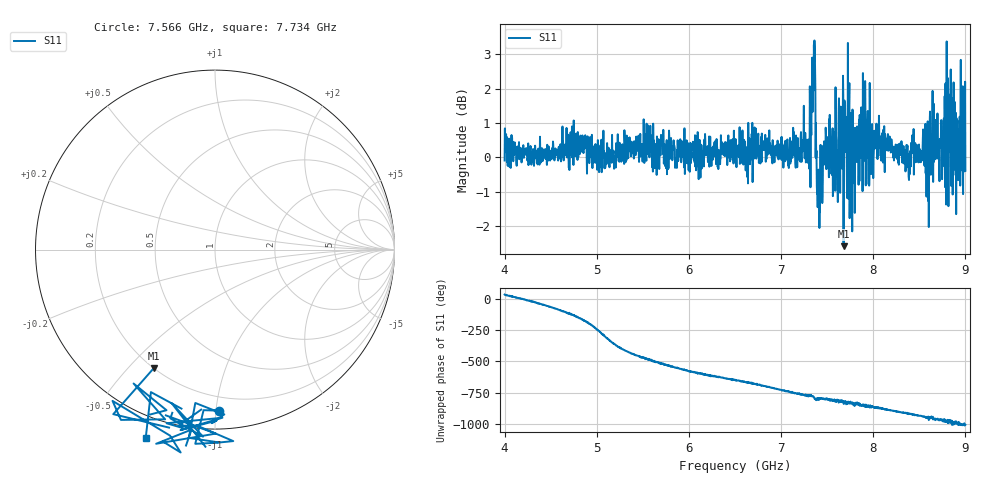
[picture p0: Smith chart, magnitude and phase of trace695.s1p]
! Created with skrf 1.8.0 (http://scikit-rf.org).
# Hz S RI R 50.0
!freq ReS11 ImS11
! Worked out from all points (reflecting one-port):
!   1601 points, 4 GHz to 9 GHz, reference 50 ohm
!   lowest |S11| = -2.6 dB at 7.678 GHz (marker M1), VSWR 6.79, Z = 10 - j29.6 ohm
!   phase of S11 starts at 37 deg and turns -1047 deg over the sweep
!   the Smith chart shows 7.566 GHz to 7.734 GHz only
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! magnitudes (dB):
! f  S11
! 4 GHz  -0.1
! 4.625 GHz  0.3
! 5.25 GHz  0.3
! 5.566 GHz  0.3
! 5.625 GHz  0.4
! 5.875 GHz  -0.1
! 6.5 GHz  0.3
! 7.125 GHz  0.4
! 7.294 GHz  -0.2
! 7.347 GHz  2.1
! 7.359 GHz  2.8
! 7.4 GHz  -0.4
! 7.412 GHz  -1.1
! 7.481 GHz  -0.2
! 7.591 GHz  2.0
! 7.678 GHz  -2.6
! 7.75 GHz  -1.6
! 7.769 GHz  -1.0
! 7.891 GHz  0.3
! 8.375 GHz  0.0
! 8.438 GHz  0.8
! 8.581 GHz  0.0
! 8.631 GHz  0.7
! 8.734 GHz  0.6
! 8.822 GHz  0.9
! 8.919 GHz  -0.6
! 8.972 GHz  0.1
! 9 GHz  -0.4
